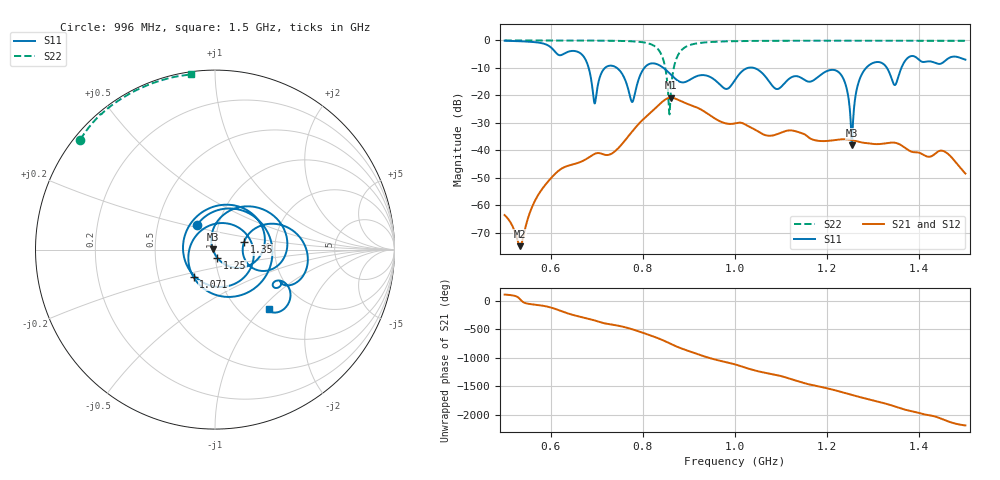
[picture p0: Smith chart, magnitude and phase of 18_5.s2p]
! TOUCHSTONE file generated by CST MICROWAVE STUDIO
! Date and time: Mon Nov 30 08:35:35 2020
! Project name: Scenario_1_Planar_Body_Tissue_Out_of_Line.cst
! Parameters = {dy1=-51.9; L_HA=400; Ltissue=700; MT=2.54; Rad_Dielectric=30; Rad_Lower=7.3; Rad_Upper=30; Wtissue=700; a_HA=580; a_WG=246; b_HA=500; b_WG=121; c_HA=0; c_WG=187; d_feed=85; dx1=866; h_feed=15; h_lower=18; h_upper=40; hfat=3; hgap=25; hmuscle=50; hskin=1.5}
! Header version: 2018
! Port assignment regex: !\s*Touchstone port\s*([0-9]+)\s*=\s*(CST MWS port|CST DS port)\s*([0-9]+|Zmin|Zmax)\s*\(\"(.*)\"\)(\s*mode\s*([0-9]+))?.*
! Touchstone port assignment:
! Touchstone port 1 = CST MWS port 1 ("")
! Touchstone port 2 = CST MWS port 2 ("")
# GHz S DB R 50
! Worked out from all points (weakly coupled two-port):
!   1003 points, 500 MHz to 1.5 GHz, reference 50 ohm
!   highest |S21| = -20.84 dB at 861 MHz (marker M1); lowest = -74.9 dB at 534 MHz (marker M2)
!   lowest |S11| = -38.2 dB at 1.254 GHz (marker M3), VSWR 1.02, Z = 48.8 + j0.0677 ohm
!   |S11| at or under -10 dB: 743.6 MHz to 803.2 MHz (59.56 MHz wide, 7.7 % of centre); 844.7 MHz to 1.028 GHz (183.2 MHz wide, 19.6 % of centre); 1.041 GHz to 1.285 GHz (243.5 MHz wide, 20.9 % of centre)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
!   |S22| runs from -26.9 to 0.0 dB; largest |S21 - S12| = 7e-06
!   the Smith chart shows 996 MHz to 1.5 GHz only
!   S11 on the Smith chart (normalised r, x): 996 MHz: 0.79, +0.23; 1.071 GHz: 0.75, -0.24; 1.25 GHz: 1.02, -0.09; 1.35 GHz: 1.38, +0.12; 1.5 GHz: 1.33, -1.10
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0.5  -0.10 -122.1  -63.53 107.0  -63.53 107.0  -0.01 151.1
0.534  -0.30 -136.9  -74.85 20.9  -74.80 21.2  -0.01 148.9
0.584  -1.13 -168.9  -53.46 -90.0  -53.46 -90.0  -0.02 145.3
0.667  -5.01 123.1  -44.05 72.8  -44.05 72.8  -0.04 138.4
0.696  -22.88 -51.7  -41.23 11.7  -41.24 11.8  -0.06 135.3
0.723  -9.42 169.3  -41.69 -45.2  -41.69 -45.2  -0.10 131.9
0.777  -22.40 -35.9  -33.10 -140.0  -33.10 -140.0  -0.32 121.2
0.834  -8.87 71.0  -23.58 60.3  -23.58 60.3  -3.41 83.3
0.861  -12.44 -19.4  -20.84 -37.7  -20.84 -37.7  -18.03 -124.3
0.888  -15.26 -139.0  -22.49 -128.2  -22.49 -128.2  -2.92 178.3
0.996  -15.37 125.4  -30.30 -25.5  -30.30 -25.5  -0.28 140.7
1  -14.37 107.3  -30.19 -34.1  -30.18 -34.1  -0.26 140.2
1.032  -9.87 -5.7  -31.47 -115.4  -31.47 -115.4  -0.19 136.3
1.071  -14.21 -127.8  -34.65 170.8  -34.65 170.8  -0.14 132.3
1.167  -14.80 163.9  -35.97 -34.3  -35.97 -34.3  -0.10 124.2
1.226  -11.69 -4.7  -36.04 -146.0  -36.04 -146.0  -0.09 119.7
1.25  -26.74 -75.1  -36.13 159.1  -36.13 159.1  -0.08 117.8
1.254  -38.19 176.8  -36.25 150.1  -36.25 150.1  -0.08 117.5
1.281  -10.73 55.8  -37.28 93.9  -37.28 93.9  -0.08 115.5
1.334  -11.33 -25.5  -37.24 -16.8  -37.24 -16.8  -0.08 111.5
1.35  -15.52 14.7  -37.32 -58.5  -37.32 -58.5  -0.09 110.3
1.5  -6.99 -48.1  -48.43 -22.1  -48.43 -22.1  -0.13 97.9
